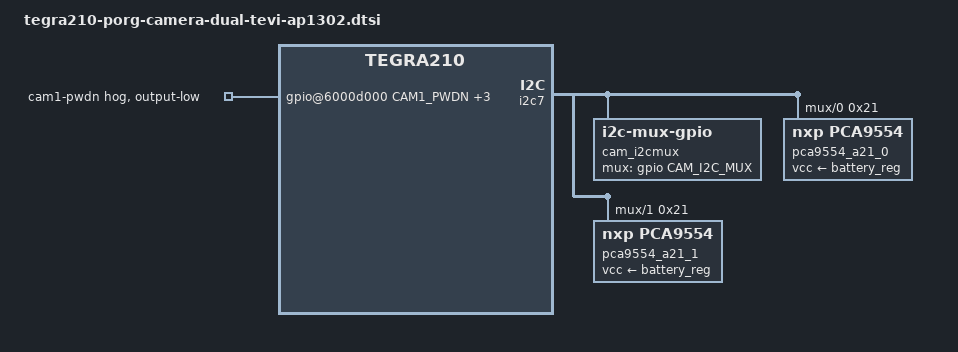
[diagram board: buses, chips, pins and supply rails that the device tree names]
/*
 * Copyright (c) 2018-2021, NVIDIA CORPORATION.  All rights reserved.
 *
 * This program is free software; you can redistribute it and/or modify
 * it under the terms of the GNU General Public License as published by
 * the Free Software Foundation; either version 2 of the License, or
 * (at your option) any later version.
 *
 * This program is distributed in the hope that it will be useful, but WITHOUT
 * ANY WARRANTY; without even the implied warranty of MERCHANTABILITY or
 * FITNESS FOR A PARTICULAR PURPOSE.  See the GNU General Public License for
 * more details.
 *
 * You should have received a copy of the GNU General Public License
 * along with this program.  If not, see <http://www.gnu.org/licenses/>.
 */

#include "tegra210-camera-dual-tevi-ap1302.dtsi"

#define CAM1_PWDN		TEGRA_GPIO(S, 7)
#define CAM1_RST_L		TEGRA_GPIO(S, 0)
#define CAM2_PWDN		TEGRA_GPIO(T, 0)
#define CAM2_RST_L		TEGRA_GPIO(S, 1)
#define CAM_I2C_MUX TEGRA_GPIO(I, 0) // NFC_EN GPIO

/ {
	host1x {
		i2c@546c0000 {  //i2c7
			clock-frequency = <100000>;
		};
	};

	cam_i2cmux {
		compatible = "i2c-mux-gpio";
		#address-cells = <1>;
		#size-cells = <0>;
		mux-gpios = <&gpio CAM_I2C_MUX GPIO_ACTIVE_HIGH>;
		i2c-parent = <&i2c7>;
		i2c@0 {
			reg = <0>;
			#address-cells = <1>;
			#size-cells = <0>;
			// status = "disabled";
			pca9554_a21_0: pca9554_a21@21 {
				compatible = "nxp,pca9554";
				reg = <0x21>;
				gpio-controller;
				#gpio-cells = <2>;
				vcc-supply = <&battery_reg>;
				status = "okay";
			};

			tevi_ap1302_otp_0: tevi_ap1302_otp@54 {
				compatible = "at24,24c1024";
				pagesize = <128>;
				reg = <0x54>;
				status = "disabled";
			};

			tevi_ap1302_a@3d {
				power-gpios = <&gpio CAM1_PWDN GPIO_ACTIVE_HIGH>;
				reset-gpios = <&gpio CAM1_RST_L GPIO_ACTIVE_HIGH>;

				has-rpi-adapter;
				exp-gpios = <&pca9554_a21_0 0 GPIO_ACTIVE_HIGH>;
				info-gpios = <&pca9554_a21_0 2 GPIO_ACTIVE_HIGH>;

				nvmem = <&tevi_ap1302_otp_0>;
				nvmem-names = "calib-data";
				status = "disabled";
			};
		};
		i2c@1 {
			reg = <1>;
			#address-cells = <1>;
			#size-cells = <0>;
			// status = "disabled";
			pca9554_a21_1: pca9554_e21@21 {
				compatible = "nxp,pca9554";
				reg = <0x21>;
				gpio-controller;
				#gpio-cells = <2>;
				vcc-supply = <&battery_reg>;
				status = "okay";
			};

			tevi_ap1302_otp_1: tevi_ap1302_otp@54 {
				compatible = "at24,24c1024";
				pagesize = <128>;
				reg = <0x54>;
				status = "disabled";
			};

			tevi_ap1302_e@3d {
				power-gpios = <&gpio CAM2_PWDN GPIO_ACTIVE_HIGH>;
				reset-gpios = <&gpio CAM2_RST_L GPIO_ACTIVE_HIGH>;

				has-rpi-adapter;
				exp-gpios = <&pca9554_a21_1 0 GPIO_ACTIVE_HIGH>;
				info-gpios = <&pca9554_a21_1 2 GPIO_ACTIVE_HIGH>;

				nvmem = <&tevi_ap1302_otp_1>;
				nvmem-names = "calib-data";
				status = "disabled";
			};
		};
	};

	gpio@6000d000 {
		camera-control-output-low {
			gpio-hog;
			output-low;
			gpios = < CAM1_PWDN 0 CAM1_RST_L 0 CAM2_PWDN 0 CAM2_RST_L 0>;
			label = "cam1-pwdn", "cam1-rst", "cam2-pwdn", "cam2-rst";
		};
	};
};
